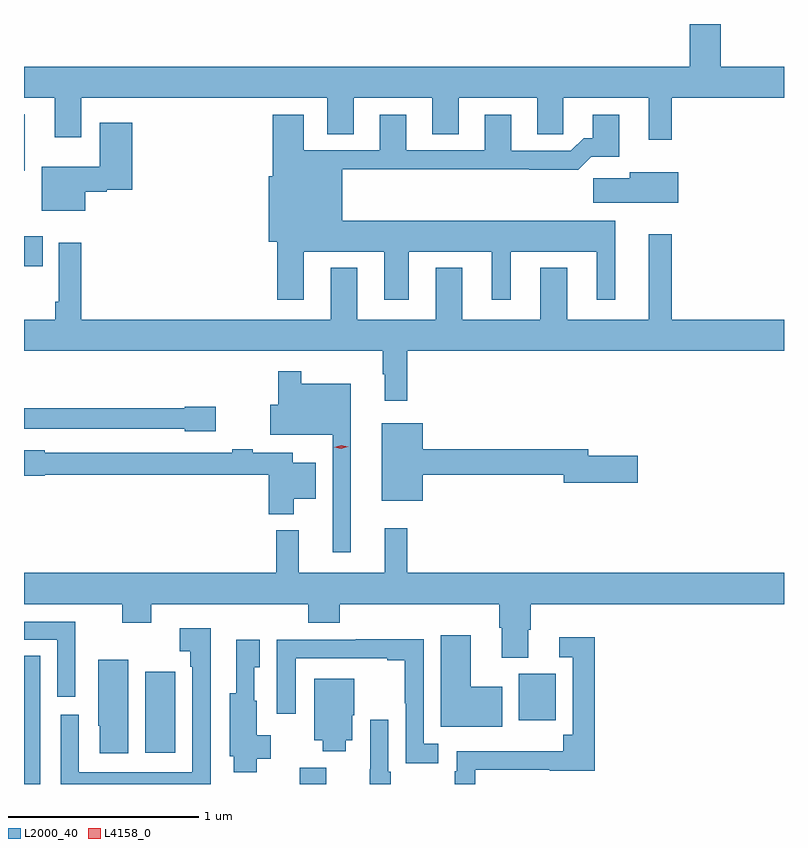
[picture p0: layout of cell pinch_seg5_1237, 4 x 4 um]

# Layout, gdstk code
import gdstk
lib = gdstk.Library(unit=1e-6, precision=1e-09)
def R(c, l, rs):  # rectangles x0, y0, x1, y1
    for r in rs: c.add(gdstk.rectangle(r[:2], r[2:], *l))
def P(c, l, *ps):  # polygons
    for p in ps: c.add(gdstk.Polygon(p, *l))
L2000_40 = (2000, 40)
L4158_0 = (4158, 0)

pinch_seg5_1237 = lib.new_cell('pinch_seg5_1237')
R(pinch_seg5_1237, L2000_40, [(460.649,863.805,460.734,864.479), (462.101,863.805,462.241,863.89), (461.288,863.97,461.446,864.397), (463.253,864.14,463.447,864.385), (460.649,866.531,460.748,866.689), (460.649,867.033,460.654,867.331)])
P(pinch_seg5_1237, L2000_40, [(464.059,867.416),(464.649,867.416),(464.649,867.58),(464.317,867.58),(464.317,867.805),(464.153,867.805),(464.153,867.58),(460.649,867.58),(460.649,867.416),(460.811,867.416),(460.811,867.21),(460.951,867.21),(460.951,867.416),(462.245,867.416),(462.245,867.226),(462.385,867.226),(462.385,867.416),(462.797,867.416),(462.797,867.226),(462.937,867.226),(462.937,867.416),(463.349,867.416),(463.349,867.226),(463.488,867.226),(463.488,867.416),(463.937,867.416),(463.937,867.195),(464.059,867.195)],
  [(462.121,866.606),(462.545,866.606),(462.545,866.355),(462.673,866.355),(462.673,866.606),(463.112,866.606),(463.112,866.355),(463.21,866.355),(463.21,866.606),(463.664,866.606),(463.664,866.355),(463.762,866.355),(463.762,866.77),(462.325,866.77),(462.325,867.04),(463.309,867.04),(463.309,867.038),(463.565,867.038),(463.634,867.107),(463.783,867.107),(463.783,867.328),(463.643,867.328),(463.643,867.205),(463.594,867.205),(463.527,867.138),(463.213,867.138),(463.213,867.328),(463.073,867.328),(463.073,867.141),(462.661,867.141),(462.661,867.328),(462.521,867.328),(462.521,867.141),(462.121,867.141),(462.121,867.328),(461.957,867.328),(461.957,867.004),(461.936,867.004),(461.936,866.66),(461.981,866.66),(461.981,866.355),(462.121,866.355)],
  [(460.972,866.921),(461.085,866.921),(461.085,866.933),(461.219,866.933),(461.219,867.286),(461.048,867.286),(461.048,867.055),(460.742,867.055),(460.742,866.822),(460.972,866.822)],
  [(464.092,867.025),(463.838,867.025),(463.838,866.993),(463.644,866.993),(463.644,866.864),(464.092,866.864)],
  [(462.665,866.084),(464.649,866.084),(464.649,866.248),(464.059,866.248),(464.059,866.698),(463.937,866.698),(463.937,866.248),(463.507,866.248),(463.507,866.521),(463.367,866.521),(463.367,866.248),(462.955,866.248),(462.955,866.521),(462.815,866.521),(462.815,866.248),(462.403,866.248),(462.403,866.521),(462.263,866.521),(462.263,866.248),(460.949,866.248),(460.949,866.653),(460.833,866.653),(460.833,866.344),(460.813,866.344),(460.813,866.248),(460.649,866.248),(460.649,866.084),(462.537,866.084),(462.537,865.961),(462.548,865.961),(462.548,865.821),(462.665,865.821)],
  [(462.37,865.912),(462.109,865.912),(462.109,865.978),(461.988,865.978),(461.988,865.801),(461.946,865.801),(461.946,865.643),(462.273,865.643),(462.273,865.026),(462.37,865.026)],
  [(461.659,865.791),(461.496,865.791),(461.496,865.783),(460.649,865.783),(460.649,865.674),(461.496,865.674),(461.496,865.661),(461.659,865.661)],
  [(462.748,865.432),(463.49,865.432),(463.49,865.39),(463.879,865.39),(463.879,865.532),(463.618,865.532),(463.618,865.568),(462.748,865.568),(462.748,865.705),(462.533,865.705),(462.533,865.295),(462.748,865.295)],
  [(462.07,865.307),(462.184,865.307),(462.184,865.495),(462.064,865.495),(462.064,865.548),(461.852,865.548),(461.852,865.568),(461.746,865.568),(461.746,865.548),(460.758,865.548),(460.758,865.561),(460.649,865.561),(460.649,865.427),(460.758,865.427),(460.758,865.432),(461.936,865.432),(461.936,865.226),(462.07,865.226)],
  [(462.095,865.141),(461.977,865.141),(461.977,864.916),(460.649,864.916),(460.649,864.752),(461.165,864.752),(461.165,864.653),(461.318,864.653),(461.318,864.752),(462.146,864.752),(462.146,864.653),(462.311,864.653),(462.311,864.752),(463.151,864.752),(463.151,864.628),(463.163,864.628),(463.163,864.47),(463.303,864.47),(463.303,864.618),(463.316,864.618),(463.316,864.752),(464.649,864.752),(464.649,864.916),(462.665,864.916),(462.665,865.15),(462.548,865.15),(462.548,864.916),(462.095,864.916)],
  [(460.92,864.66),(460.649,864.66),(460.649,864.564),(460.824,864.564),(460.824,864.264),(460.92,864.264)],
  [(461.631,864.379),(461.632,864.379),(461.632,864.625),(461.469,864.625),(461.469,864.504),(461.523,864.504),(461.523,864.422),(461.535,864.422),(461.535,863.868),(460.938,863.868),(460.938,864.169),(460.842,864.169),(460.842,863.805),(461.631,863.805)],
  [(463.165,864.316),(463,864.316),(463,864.589),(462.842,864.589),(462.842,864.107),(463.165,864.107)],
  [(463.024,863.88),(463.417,863.88),(463.417,863.875),(463.654,863.875),(463.654,864.198),(463.652,864.198),(463.652,864.577),(463.467,864.577),(463.467,864.471),(463.536,864.471),(463.536,864.064),(463.487,864.064),(463.487,863.977),(462.927,863.977),(462.927,863.871),(462.915,863.871),(462.915,863.805),(463.024,863.805)],
  [(462.829,864.018),(462.753,864.018),(462.753,864.566),(462.394,864.566),(462.394,864.564),(461.978,864.564),(461.978,864.174),(462.079,864.174),(462.079,864.468),(462.56,864.468),(462.56,864.456),(462.652,864.456),(462.652,864.229),(462.657,864.229),(462.657,863.913),(462.829,863.913)],
  [(461.875,863.938),(461.947,863.938),(461.947,864.062),(461.875,864.062),(461.875,864.243),(461.862,864.243),(461.862,864.42),(461.89,864.42),(461.89,864.565),(461.765,864.565),(461.765,864.283),(461.732,864.283),(461.732,863.952),(461.753,863.952),(461.753,863.867),(461.875,863.867)],
  [(461.197,864.46),(461.039,864.46),(461.039,864.111),(461.048,864.111),(461.048,863.967),(461.197,863.967)],
  [(462.343,864.035),(462.376,864.035),(462.376,864.168),(462.388,864.168),(462.388,864.358),(462.176,864.358),(462.176,864.035),(462.221,864.035),(462.221,863.978),(462.343,863.978)],
  [(462.58,863.869),(462.567,863.869),(462.567,864.142),(462.471,864.142),(462.471,863.882),(462.469,863.882),(462.469,863.805),(462.58,863.805)])
P(pinch_seg5_1237, L4158_0, [(462.319,865.569),(462.283,865.578),(462.283,865.578),(462.283,865.578),(462.319,865.589),(462.354,865.581),(462.355,865.58),(462.354,865.58)])

lib.write_gds('pinch_seg5_1237.gds')
